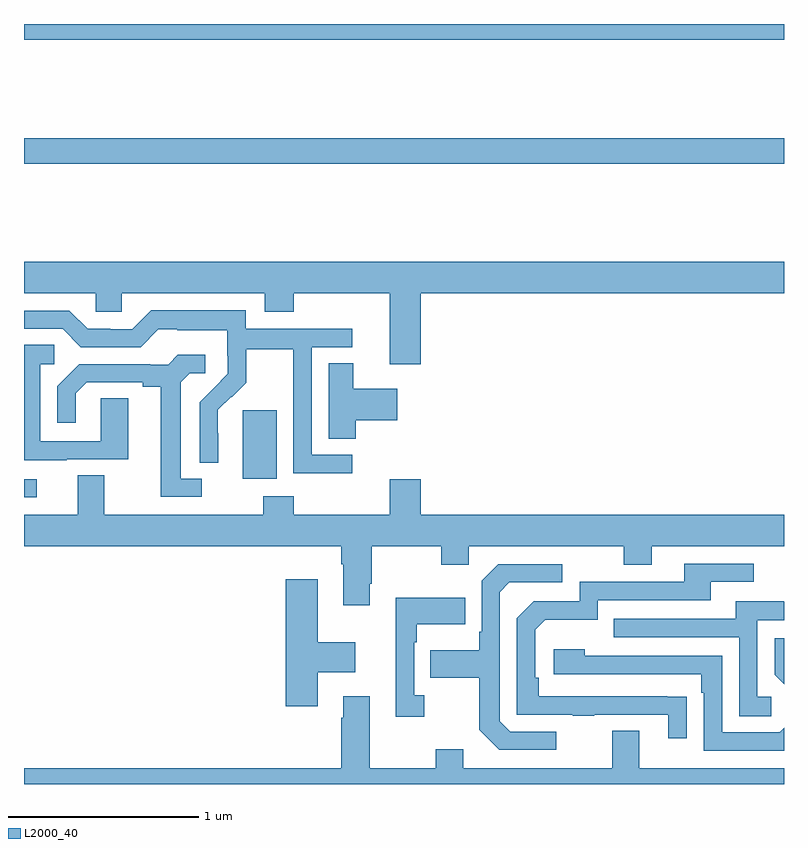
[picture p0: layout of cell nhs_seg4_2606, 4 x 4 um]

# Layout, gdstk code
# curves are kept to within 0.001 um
import gdstk
lib = gdstk.Library(unit=1e-6, precision=1e-09)
def R(c, l, rs):  # rectangles x0, y0, x1, y1
    for r in rs: c.add(gdstk.rectangle(r[:2], r[2:], *l))
def P(c, l, *ps):  # polygons
    for p in ps: c.add(gdstk.Polygon(p, *l))
L2000_40 = (2000, 40)

nhs_seg4_2606 = lib.new_cell('nhs_seg4_2606')
R(nhs_seg4_2606, L2000_40, [(247,798.408,247.066,798.504), (248.15,798.506,248.329,798.867), (247,800.164,251,800.3), (247,800.816,251,800.9)])
P(nhs_seg4_2606, L2000_40, [(249.088,799.484),(251,799.484),(251,799.648),(247,799.648),(247,799.484),(247.377,799.484),(247.377,799.386),(247.515,799.386),(247.515,799.484),(248.267,799.484),(248.267,799.385),(248.42,799.385),(248.42,799.484),(248.924,799.484),(248.924,799.11),(249.088,799.11)],
  [(248.728,798.633),(248.514,798.633),(248.514,799.2),(248.728,799.2),(248.728,799.296),(248.166,799.296),(248.166,799.393),(247.669,799.393),(247.569,799.293),(247.454,799.293),(247.454,799.296),(247.335,799.296),(247.239,799.392),(247,799.392),(247,799.296),(247.203,799.296),(247.299,799.2),(247.614,799.2),(247.707,799.293),(247.807,799.293),(247.807,799.289),(248.07,799.289),(248.07,799.155),(248.072,799.155),(248.072,799.058),(247.926,798.91),(247.926,798.592),(248.022,798.592),(248.021,798.869),(248.091,798.939),(248.094,798.936),(248.171,799.013),(248.171,799.188),(248.416,799.188),(248.416,798.964),(248.418,798.964),(248.418,798.535),(248.728,798.535)],
  [(247.225,798.609),(247.549,798.609),(247.549,798.929),(247.404,798.929),(247.404,798.705),(247.086,798.705),(247.086,799.11),(247.159,799.11),(247.159,799.211),(247,799.211),(247,798.605),(247.225,798.605)],
  [(247.936,798.507),(247.825,798.507),(247.825,799.015),(247.872,799.062),(247.954,799.062),(247.954,799.159),(247.81,799.159),(247.758,799.107),(247.664,799.107),(247.664,799.11),(247.292,799.11),(247.176,798.994),(247.176,798.801),(247.273,798.801),(247.273,798.957),(247.33,799.014),(247.625,799.014),(247.625,798.992),(247.721,798.992),(247.721,798.411),(247.936,798.411)],
  [(248.747,798.814),(248.965,798.814),(248.965,798.979),(248.734,798.979),(248.734,799.115),(248.603,799.115),(248.603,798.718),(248.747,798.718)],
  [(248.821,797.953),(248.829,797.953),(248.829,798.152),(249.196,798.152),(249.196,798.053),(249.342,798.053),(249.342,798.152),(250.156,798.152),(250.156,798.053),(250.303,798.053),(250.303,798.152),(251,798.152),(251,798.316),(249.088,798.316),(249.088,798.505),(248.924,798.505),(248.924,798.316),(248.42,798.316),(248.42,798.415),(248.26,798.415),(248.26,798.316),(247.423,798.316),(247.423,798.524),(247.283,798.524),(247.283,798.316),(247,798.316),(247,798.152),(248.669,798.152),(248.669,798.056),(248.681,798.056),(248.681,797.841),(248.821,797.841)],
  [(250.487,797.36),(249.71,797.361),(249.71,797.458),(249.69,797.458),(249.69,797.712),(249.743,797.765),(250.02,797.765),(250.02,797.868),(250.615,797.868),(250.615,797.964),(250.84,797.964),(250.84,798.06),(250.475,798.06),(250.475,797.964),(249.924,797.964),(249.924,797.862),(249.684,797.862),(249.594,797.772),(249.594,797.265),(249.889,797.265),(249.889,797.26),(250.001,797.26),(250.001,797.265),(250.391,797.265),(250.391,797.142),(250.487,797.142)],
  [(249.802,797.175),(249.558,797.175),(249.504,797.229),(249.504,797.91),(249.555,797.961),(249.832,797.961),(249.832,798.057),(249.495,798.057),(249.408,797.97),(249.408,797.701),(249.396,797.701),(249.396,797.605),(249.139,797.605),(249.139,797.458),(249.396,797.458),(249.396,797.185),(249.501,797.079),(249.802,797.079)],
  [(248.545,797.489),(248.743,797.489),(248.743,797.647),(248.545,797.647),(248.545,797.977),(248.378,797.977),(248.378,797.31),(248.545,797.31)],
  [(249.106,797.366),(249.054,797.366),(249.054,797.645),(249.067,797.645),(249.067,797.741),(249.323,797.741),(249.323,797.881),(248.957,797.881),(248.957,797.253),(249.106,797.253)],
  [(250.933,797.358),(250.86,797.358),(250.86,797.763),(251,797.763),(251,797.859),(250.999,797.859),(250.999,797.863),(250.745,797.863),(250.745,797.769),(250.105,797.769),(250.105,797.673),(250.764,797.673),(250.764,797.257),(250.933,797.257)],
  [(251,797.668),(250.95,797.668),(250.95,797.474),(251,797.424)],
  [(251,797.195),(250.977,797.172),(250.674,797.172),(250.674,797.574),(249.95,797.574),(249.95,797.608),(249.789,797.608),(249.789,797.478),(250.565,797.478),(250.565,797.381),(250.578,797.381),(250.578,797.076),(251,797.076)],
  [(251,796.984),(250.237,796.984),(250.237,797.179),(250.097,797.179),(250.097,796.984),(249.313,796.984),(249.313,797.083),(249.166,797.083),(249.166,796.984),(248.821,796.984),(248.821,797.362),(248.681,797.362),(248.681,797.249),(248.669,797.249),(248.669,796.984),(247,796.984),(247,796.9),(251,796.9)])

lib.write_gds('nhs_seg4_2606.gds')
